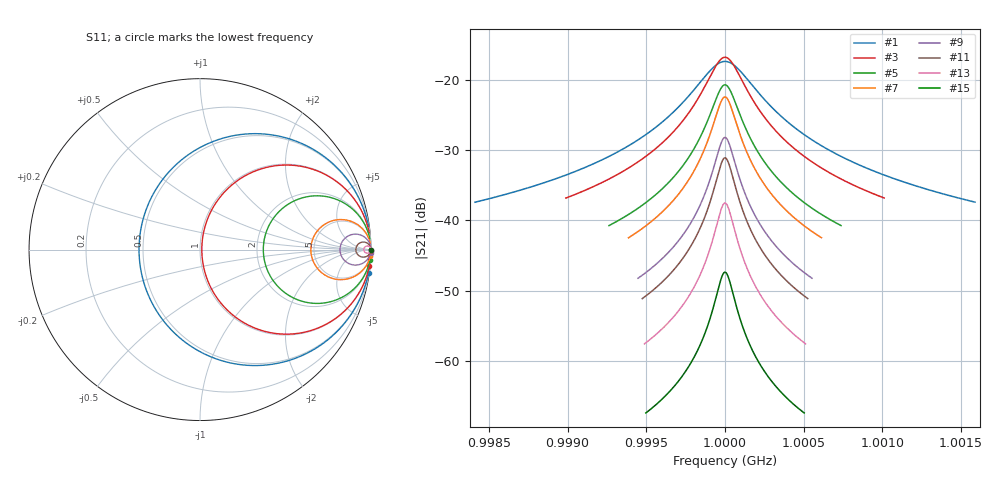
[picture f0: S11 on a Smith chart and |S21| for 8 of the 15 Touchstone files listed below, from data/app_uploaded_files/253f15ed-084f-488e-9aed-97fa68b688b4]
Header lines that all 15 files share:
# Hz S RI R 50
Fixed: Q0 = 10000.000000, f0 = 1000000000.000000, n = 1001, rel_span = 10.000000
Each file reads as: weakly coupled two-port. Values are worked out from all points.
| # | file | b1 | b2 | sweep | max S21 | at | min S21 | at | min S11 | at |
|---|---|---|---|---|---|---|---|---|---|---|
| 1 | output_6_7.s2p | 2.154435 | 0.021544 | 998.412 MHz to 1.00159 GHz | -17.35 dB | 1 GHz | -37.4 dB | 998.412 MHz | -9.0 dB | 1 GHz |
| 2 | output_6_9.s2p | 2.154435 | 0.004642 | 998.42 MHz to 1.00158 GHz | -23.97 dB | 1 GHz | -44.0 dB | 998.42 MHz | -8.8 dB | 1 GHz |
| 3 | output_7_6.s2p | 1.000000 | 0.021544 | 998.989 MHz to 1.00101 GHz | -16.76 dB | 1 GHz | -36.8 dB | 998.989 MHz | -39.4 dB | 1 GHz |
| 4 | output_7_9.s2p | 1.000000 | 0.002154 | 998.999 MHz to 1.001 GHz | -26.68 dB | 1 GHz | -46.7 dB | 998.999 MHz | -59.4 dB | 1 GHz |
| 5 | output_8_6.s2p | 0.464159 | 0.010000 | 999.263 MHz to 1.00074 GHz | -20.68 dB | 1 GHz | -40.7 dB | 999.263 MHz | -8.6 dB | 1 GHz |
| 6 | output_8_8.s2p | 0.464159 | 0.002154 | 999.267 MHz to 1.00073 GHz | -27.30 dB | 1 GHz | -47.4 dB | 999.267 MHz | -8.7 dB | 1 GHz |
| 7 | output_9_5.s2p | 0.215443 | 0.010000 | 999.387 MHz to 1.00061 GHz | -22.41 dB | 1 GHz | -42.5 dB | 999.387 MHz | -3.8 dB | 1 GHz |
| 8 | output_9_7.s2p | 0.215443 | 0.002154 | 999.391 MHz to 1.00061 GHz | -29.02 dB | 1 GHz | -49.1 dB | 999.391 MHz | -3.8 dB | 1 GHz |
| 9 | output_10_5.s2p | 0.100000 | 0.004642 | 999.448 MHz to 1.00055 GHz | -28.18 dB | 1 GHz | -48.2 dB | 999.448 MHz | -1.7 dB | 1 GHz |
| 10 | output_10_6.s2p | 0.100000 | 0.002154 | 999.449 MHz to 1.00055 GHz | -31.49 dB | 1 GHz | -51.5 dB | 999.449 MHz | -1.7 dB | 1 GHz |
| 11 | output_11_4.s2p | 0.046416 | 0.004642 | 999.474 MHz to 1.00053 GHz | -31.08 dB | 1 GHz | -51.1 dB | 999.474 MHz | -0.8 dB | 1 GHz |
| 12 | output_11_6.s2p | 0.046416 | 0.001000 | 999.476 MHz to 1.00052 GHz | -37.72 dB | 1 GHz | -57.8 dB | 999.476 MHz | -0.8 dB | 1 GHz |
| 13 | output_12_4.s2p | 0.021544 | 0.002154 | 999.488 MHz to 1.00051 GHz | -37.52 dB | 1 GHz | -57.6 dB | 999.488 MHz | -0.4 dB | 1 GHz |
| 14 | output_13_4.s2p | 0.010000 | 0.001000 | 999.495 MHz to 1.00051 GHz | -44.07 dB | 1 GHz | -64.1 dB | 999.495 MHz | -0.2 dB | 1 GHz |
| 15 | output_14_3.s2p | 0.004642 | 0.001000 | 999.497 MHz to 1.0005 GHz | -47.36 dB | 1 GHz | -67.4 dB | 999.497 MHz | -0.1 dB | 1 GHz |
